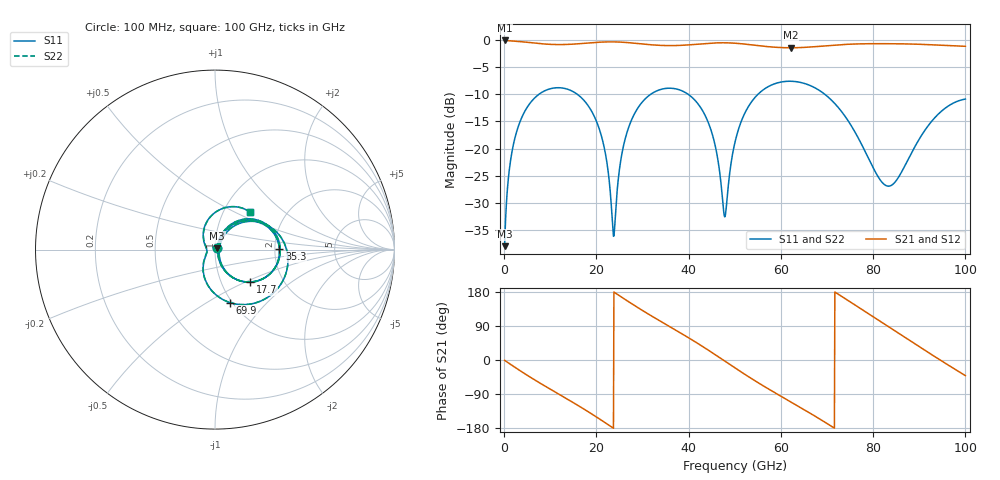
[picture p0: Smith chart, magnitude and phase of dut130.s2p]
! Touchstone file exported from HFSS 2026.1.0
!  File:  C:/ffzhzh/LocalFiles/Ansys_Project_Files/temp_train_TSV_RDL_130_1783460532_28540.aedt
!  Generated:  05:53:26 AM Jul  8, 2026
!  Design:  TSV_RDL
!  Project:  temp_train_TSV_RDL_130_1783460532_28540
! Variables:
!  h_bsmrdl = 2.69um
!  h_ox = 20um
!  h_rdl = 5um
!  h_sub = 91.92um
!  h_tmrdl = 3.63um
!  h_tsv = 91.92um
!  h_via = 3um
!  l_bsmrdl = 347.97um
!  l_sub = 2360.23um
!  l_tmrdl = 186.69um
!  m_sub = 200um
!  pitch = 43.35um
!  r_tsv = 5.73um
!  s_tmrdl = 10um
!  w_bsmrdl = 27um
!  w_sub = 500um
!  w_tmrdl = 29.52um
!  x_tsv_center1 = 201.45um
!  x_tsv_center2 = 576.42um
!  x_tsv_center3 = 792.63um
!  x_tsv_center4 = 1167.6um
!  x_tsv_center5 = 1383.81um
!  x_tsv_center6 = 1758.78um
# GHz S MA R 50.000000
! Terminal data exported
! Port[1] = TM_RDL1_1_T1
! Port[2] = TM_RDL5_1_T1
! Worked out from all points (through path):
!   1000 points, 100 MHz to 100 GHz, reference 50 ohm
!   highest |S21| = -0.10 dB at 100 MHz (marker M1); lowest = -1.4 dB at 62.1 GHz (marker M2)
!   group delay of S21, straight-line fit = 21.1 ps
!   lowest |S11| = -37.9 dB at 100 MHz (marker M3), VSWR 1.03, Z = 51.1 + j0.642 ohm
!   |S11| at or under -10 dB: 15.87 GHz to 31.77 GHz (15.9 GHz wide, 66.8 % of centre); 39.89 GHz to 55.03 GHz (15.13 GHz wide, 31.9 % of centre); 69.52 GHz to end of sweep (the widest 3 of 4)
!   |S22| runs from -37.9 to -7.6 dB; largest |S21 - S12| = 1.7e-14
!   S11 on the Smith chart (normalised r, x): 100 MHz: 1.02, +0.01; 17.7 GHz: 1.37, -0.53; 35.3 GHz: 2.12, +0.02; 69.9 GHz: 0.98, -0.64; 100 GHz: 1.33, +0.60
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0.1  0.01269 29.7  0.9891 -0.9  0.9891 -0.9  0.01269 29.7
! Gamma 0 0 0 0
! Port Impedance 50 0 50 0
1.7  0.09374 66.3  0.9801 -14.1  0.9801 -14.1  0.09374 66.3
4.7  0.2292 47.2  0.9535 -38.0  0.9535 -38.0  0.2292 47.2
10.6  0.3603 6.0  0.9086 -81.2  0.9086 -81.2  0.3603 6.0
16.8  0.2927 -36.5  0.9269 -125.8  0.9269 -125.8  0.2927 -36.5
17.7  0.2657 -42.7  0.9336 -132.5  0.9336 -132.5  0.2657 -42.8
21.5  0.1117 -66.9  0.9572 -162.2  0.9572 -162.2  0.1117 -67.2
23.7  0.01564 -9.7  0.9597 -180.0  0.9597 -180.0  0.01505 -10.2
26.9  0.153 57.1  0.9444 154.4  0.9444 154.4  0.1529 57.4
33.4  0.3443 13.3  0.8931 105.8  0.8931 105.8  0.3442 13.3
35.3  0.3592 0.5  0.8872 92.3  0.8872 92.3  0.3591 0.5
43.7  0.1971 -55.6  0.9273 30.5  0.9273 30.5  0.197 -55.8
47.8  0.0236 -8.6  0.9414 -2.5  0.9414 -2.5  0.02199 -8.9
50.1  0.1172 55.9  0.9327 -21.3  0.9327 -21.3  0.1168 56.8
55.8  0.3382 20.9  0.8794 -65.4  0.8794 -65.4  0.3381 21.2
62.1  0.417 -21.2  0.8472 -110.3  0.8472 -110.3  0.4169 -21.0
66.7  0.375 -52.1  0.8626 -143.0  0.8626 -143.0  0.3748 -51.9
69.9  0.3069 -74.2  0.8844 -166.8  0.8844 -166.8  0.3068 -74.2
75.9  0.1462 -115.9  0.9171 146.5  0.9171 146.5  0.1458 -116.5
83.4  0.04521 -173.1  0.9233 87.2  0.9233 87.2  0.04481 -176.6
92  0.164 105.6  0.9051 19.5  0.9051 19.5  0.1643 105.0
100  0.2858 47.0  0.8747 -41.3  0.8747 -41.3  0.286 47.1
